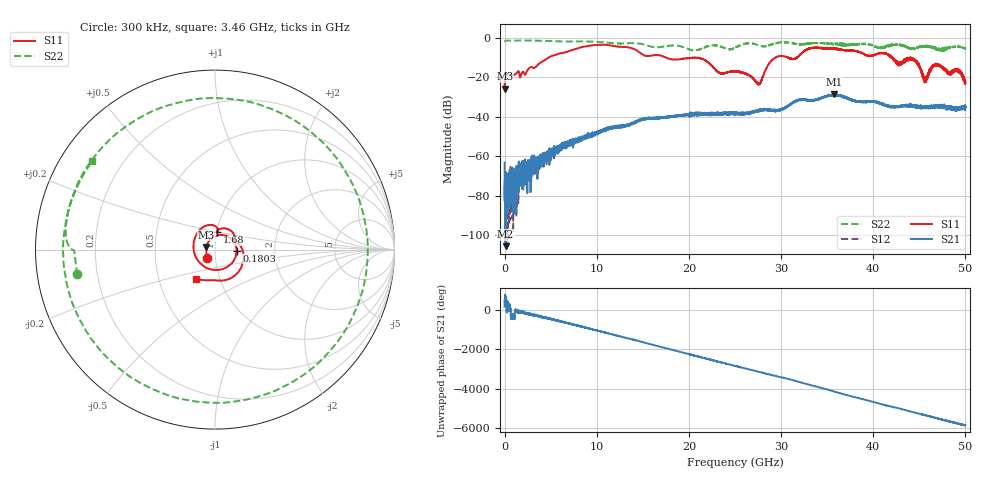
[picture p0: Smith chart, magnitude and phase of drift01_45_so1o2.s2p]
!Created with skrf (http://scikit-rf.org).
# Hz S RI R 50.0
!freq ReS11 ImS11 ReS21 ImS21 ReS12 ImS12 ReS22 ImS22
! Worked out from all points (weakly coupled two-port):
!   10001 points, 300 kHz to 50 GHz, reference 50 ohm
!   highest |S21| = -28.74 dB at 35.74 GHz (marker M1); lowest = -105.6 dB at 100.3 MHz (marker M2)
!   lowest |S11| = -25.9 dB at 5.3 MHz (marker M3), VSWR 1.11, Z = 45.3 + j1.39 ohm
!   |S11| at or under -10 dB: start of sweep to 4.768 GHz; 17.49 GHz to 29.4 GHz (11.91 GHz wide, 50.8 % of centre); 44.05 GHz to end of sweep (the widest 3 of 12)
!   |S22| runs from -6.7 to -1.4 dB; largest |S21 - S12| = 0.0036
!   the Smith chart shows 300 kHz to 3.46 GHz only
!   S11 on the Smith chart (normalised r, x): 300 kHz: 0.91, -0.08; 180.3 MHz: 1.27, -0.01; 1.68 GHz: 1.01, +0.20; 3.46 GHz: 0.77, -0.26
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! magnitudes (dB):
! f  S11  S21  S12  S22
! 300 kHz  -23.7  -63.3  -72.6  -2.2
! 5.3 MHz  -25.9  -75.2  -74.8  -2.1
! 100.3 MHz  -19.0  -105.6  -76.3  -1.5
! 180.3 MHz  -18.4  -77.9  -82.6  -1.4
! 1.68 GHz  -20.2  -72.9  -70.9  -1.4
! 3.46 GHz  -14.3  -64.0  -65.1  -1.5
! 8.335 GHz  -4.8  -50.9  -50.6  -1.8
! 16.67 GHz  -8.7  -40.8  -40.8  -4.8
! 21.16 GHz  -10.3  -38.9  -38.3  -5.8
! 25 GHz  -17.1  -38.5  -38.3  -5.1
! 27.59 GHz  -23.8  -37.0  -36.9  -3.9
! 29.28 GHz  -10.3  -36.7  -36.8  -2.8
! 31.45 GHz  -10.7  -32.4  -32.5  -3.0
! 33.34 GHz  -5.1  -31.8  -31.5  -2.7
! 35.74 GHz  -5.4  -28.7  -29.0  -2.8
! 41.67 GHz  -8.9  -34.2  -34.7  -4.2
! 42.73 GHz  -13.0  -34.8  -34.5  -3.3
! 44.46 GHz  -11.0  -34.5  -34.6  -5.3
! 45.63 GHz  -20.6  -35.1  -34.5  -4.3
! 46.95 GHz  -13.9  -34.1  -34.4  -5.6
! 49.21 GHz  -16.1  -35.7  -36.0  -4.4
! 50 GHz  -22.1  -35.0  -35.4  -5.4
